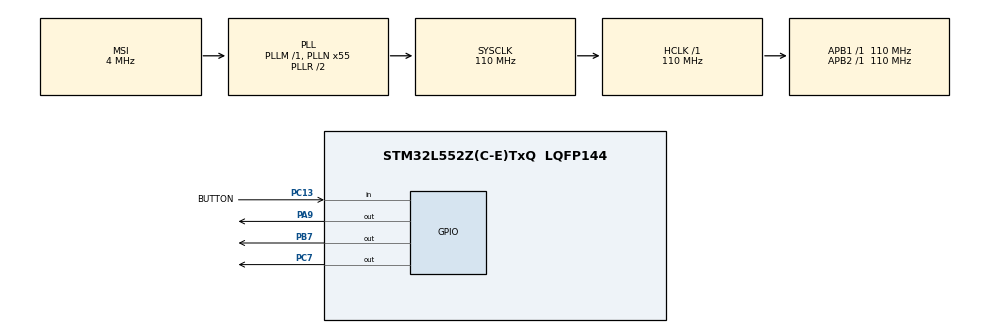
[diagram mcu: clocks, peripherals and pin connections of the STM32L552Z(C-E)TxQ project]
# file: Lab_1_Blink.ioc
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Mcu.Family=STM32L5
Mcu.Name=STM32L552Z(C-E)TxQ
Mcu.Package=LQFP144
Mcu.TrustZone=disable
NUCLEO-L552ZE-Q.BUTTON=1
NUCLEO-L552ZE-Q.LD1=true
NUCLEO-L552ZE-Q.LD2=true
NUCLEO-L552ZE-Q.LD3=true
NUCLEO-L552ZE-Q.VCP=true
NVIC.EXTI13_IRQn=true\:0\:0\:false\:false\:true\:false\:true\:true
NVIC.PriorityGroup=NVIC_PRIORITYGROUP_3
PA13\ (JTMS/SWDIO).Signal=DEBUG_JTMS-SWDIO
PA14\ (JTCK/SWCLK).Signal=DEBUG_JTCK-SWCLK
PA9.Signal=GPIO_Output
PB3\ (JTDO/TRACESWO).Signal=DEBUG_JTDO-SWO
PB7.Signal=GPIO_Output
PC13.GPIO_Label=BUTTON
PC13.GPIO_PuPd=GPIO_PULLDOWN
PC13.Signal=GPIO_Input
PC14-OSC32_IN\ (PC14).Signal=RCC_OSC32_IN
PC15-OSC32_OUT\ (PC15).Signal=RCC_OSC32_OUT
PC7.Signal=GPIO_Output
PG7.Signal=LPUART1_TX
PG8.Signal=LPUART1_RX
ProjectManager.HeapSize=0x200
ProjectManager.StackSize=0x400
ProjectManager.TargetToolchain=STM32CubeIDE
RCC.ADCCLockSelection=RCC_ADCCLKSOURCE_SYSCLK
RCC.ADCFreq_Value=110000000
RCC.AHBFreq_Value=110000000
RCC.APB1Freq_Value=110000000
RCC.APB1TimFreq_Value=110000000
RCC.APB2Freq_Value=110000000
RCC.APB2TimFreq_Value=110000000
RCC.CK48CLockSelection=RCC_USBCLKSOURCE_HSI48
RCC.CortexFreq_Value=110000000
RCC.HCLKFreq_Value=110000000
RCC.HSE_VALUE=8000000
RCC.HSI48_VALUE=48000000
RCC.HSI_VALUE=16000000
RCC.LSE_VALUE=32768
RCC.MSI_VALUE=4000000
RCC.PLLN=55
RCC.PLLSAI1N=24
RCC.RTCClockSelection=RCC_RTCCLKSOURCE_LSE
RCC.SYSCLKFreq_VALUE=110000000
RCC.SYSCLKSource=RCC_SYSCLKSOURCE_PLLCLK
RCC.USBFreq_Value=48000000
RCC.VCOOutputFreq_Value=220000000
VP_ICACHE_VS_ICACHE.Mode=DirectMappedCache
VP_NUCLEO-L552ZE-Q_VS_BSP_COMMON.Mode=COMMON
board=NUCLEO-L552ZE-Q

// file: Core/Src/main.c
/* USER CODE BEGIN Header */
/**
  ******************************************************************************
  * @file           : main.c
  * @brief          : Main program body
  ******************************************************************************
  * @attention
  *
  * Copyright (c) 2025 STMicroelectronics.
  * All rights reserved.
  *
  * This software is licensed under terms that can be found in the LICENSE file
  * in the root directory of this software component.
  * If no LICENSE file comes with this software, it is provided AS-IS.
  *
  ******************************************************************************
  */
/* USER CODE END Header */
#include "main.h"

/* USER CODE BEGIN PM */

// LAB MACRO
#define LAB_TEST 2			// LAB_TEST is the macro that controls what part of the lab is run for easy switching 1 = part1, 2 = part2

/* USER CODE END PM */

COM_InitTypeDef BspCOMInit;

/* USER CODE BEGIN PV */

// Timer Variables
uint32_t blink_current_time = 1;
uint32_t blink_next_time = 0;

/* USER CODE END PV */

void SystemClock_Config(void);
static void MX_GPIO_Init(void);
static void MX_ICACHE_Init(void);
/* USER CODE BEGIN PFP */

// Function Prototypes
uint8_t VerifyButtonPress(GPIO_TypeDef* PORT, uint16_t PIN, uint8_t positive_polls, uint8_t total_polls);

/* USER CODE END PFP */

int main(void)
{

  /* MCU Configuration--------------------------------------------------------*/

  /* Reset of all peripherals, Initializes the Flash interface and the Systick. */
  HAL_Init();

  /* Configure the system clock */
  SystemClock_Config();

  /* Initialize all configured peripherals */
  MX_GPIO_Init();
  MX_ICACHE_Init();
  /* USER CODE BEGIN 2 */
  // User Private Functions

  /* USER CODE END 2 */

  /* Initialize leds */
  BSP_LED_Init(LED_GREEN);
  BSP_LED_Init(LED_BLUE);
  BSP_LED_Init(LED_RED);

  /* Initialize USER push-button, will be used to trigger an interrupt each time it's pressed.*/
  BSP_PB_Init(BUTTON_USER, BUTTON_MODE_EXTI);

  /* Initialize COM1 port (115200, 8 bits (7-bit data + 1 stop bit), no parity */
  BspCOMInit.BaudRate   = 115200;
  BspCOMInit.WordLength = COM_WORDLENGTH_8B;
  BspCOMInit.StopBits   = COM_STOPBITS_1;
  BspCOMInit.Parity     = COM_PARITY_NONE;
  BspCOMInit.HwFlowCtl  = COM_HWCONTROL_NONE;
  if (BSP_COM_Init(COM1, &BspCOMInit) != BSP_ERROR_NONE)
  {
    Error_Handler();
  }

  /* Infinite loop */
  /* USER CODE BEGIN WHILE */
  while (1)
  {
	  // Part 1
	  if (LAB_TEST == 1)
	  {
		  // Start LED Blink
		  blink_current_time = HAL_GetTick();								// Update current time variable
		  if (blink_next_time < blink_current_time)
		  {
			  HAL_GPIO_TogglePin(GPIOC, GPIO_PIN_7);						// Toggle LED
			  blink_next_time = HAL_GetTick() + 1000;						// Set new timer for 1s
		  }
	  }

	  // Part 2
	  if (LAB_TEST == 2)
	  {
		  // Check for button press
		  if (HAL_GPIO_ReadPin(GPIOC, GPIO_PIN_13))
			  if (VerifyButtonPress(GPIOC, GPIO_PIN_13, 8, 10))
					  HAL_GPIO_TogglePin(GPIOC, GPIO_PIN_7);
	  }

    /* USER CODE END WHILE */

  }
}

void SystemClock_Config(void)
{
  RCC_OscInitTypeDef RCC_OscInitStruct = {0};
  RCC_ClkInitTypeDef RCC_ClkInitStruct = {0};

  /** Configure the main internal regulator output voltage
  */
  if (HAL_PWREx_ControlVoltageScaling(PWR_REGULATOR_VOLTAGE_SCALE0) != HAL_OK)
  {
    Error_Handler();
  }

  /** Initializes the RCC Oscillators according to the specified parameters
  * in the RCC_OscInitTypeDef structure.
  */
  RCC_OscInitStruct.OscillatorType = RCC_OSCILLATORTYPE_MSI;
  RCC_OscInitStruct.MSIState = RCC_MSI_ON;
  RCC_OscInitStruct.MSICalibrationValue = RCC_MSICALIBRATION_DEFAULT;
  RCC_OscInitStruct.MSIClockRange = RCC_MSIRANGE_6;
  RCC_OscInitStruct.PLL.PLLState = RCC_PLL_ON;
  RCC_OscInitStruct.PLL.PLLSource = RCC_PLLSOURCE_MSI;
  RCC_OscInitStruct.PLL.PLLM = 1;
  RCC_OscInitStruct.PLL.PLLN = 55;
  RCC_OscInitStruct.PLL.PLLP = RCC_PLLP_DIV7;
  RCC_OscInitStruct.PLL.PLLQ = RCC_PLLQ_DIV2;
  RCC_OscInitStruct.PLL.PLLR = RCC_PLLR_DIV2;
  if (HAL_RCC_OscConfig(&RCC_OscInitStruct) != HAL_OK)
  {
    Error_Handler();
  }

  /** Initializes the CPU, AHB and APB buses clocks
  */
  RCC_ClkInitStruct.ClockType = RCC_CLOCKTYPE_HCLK|RCC_CLOCKTYPE_SYSCLK
                              |RCC_CLOCKTYPE_PCLK1|RCC_CLOCKTYPE_PCLK2;
  RCC_ClkInitStruct.SYSCLKSource = RCC_SYSCLKSOURCE_PLLCLK;
  RCC_ClkInitStruct.AHBCLKDivider = RCC_SYSCLK_DIV1;
  RCC_ClkInitStruct.APB1CLKDivider = RCC_HCLK_DIV1;
  RCC_ClkInitStruct.APB2CLKDivider = RCC_HCLK_DIV1;

  if (HAL_RCC_ClockConfig(&RCC_ClkInitStruct, FLASH_LATENCY_5) != HAL_OK)
  {
    Error_Handler();
  }
}

static void MX_ICACHE_Init(void)
{

  /** Enable instruction cache in 1-way (direct mapped cache)
  */
  if (HAL_ICACHE_ConfigAssociativityMode(ICACHE_1WAY) != HAL_OK)
  {
    Error_Handler();
  }
  if (HAL_ICACHE_Enable() != HAL_OK)
  {
    Error_Handler();
  }

}

static void MX_GPIO_Init(void)
{
  GPIO_InitTypeDef GPIO_InitStruct = {0};

    /* GPIO Ports Clock Enable */
    __HAL_RCC_GPIOC_CLK_ENABLE();
    __HAL_RCC_GPIOA_CLK_ENABLE();
    __HAL_RCC_GPIOB_CLK_ENABLE();   // already enabled

    /*Configure GPIO pin Output Level */
    HAL_GPIO_WritePin(GPIOC, GPIO_PIN_7, GPIO_PIN_RESET);
    HAL_GPIO_WritePin(GPIOB, GPIO_PIN_7, GPIO_PIN_RESET);

    /*Configure GPIO pin : BUTTON_Pin */
    GPIO_InitStruct.Pin = BUTTON_Pin;
    GPIO_InitStruct.Mode = GPIO_MODE_INPUT;
    GPIO_InitStruct.Pull = GPIO_PULLDOWN;
    HAL_GPIO_Init(BUTTON_GPIO_Port, &GPIO_InitStruct);

    /*Configure GPIO pin : PC7 */
    GPIO_InitStruct.Pin = GPIO_PIN_7;
    GPIO_InitStruct.Mode = GPIO_MODE_OUTPUT_PP;
    GPIO_InitStruct.Pull = GPIO_NOPULL;
    GPIO_InitStruct.Speed = GPIO_SPEED_FREQ_LOW;
    HAL_GPIO_Init(GPIOC, &GPIO_InitStruct);

    /*Configure GPIO pin : PB7 (LD2) */
    GPIO_InitStruct.Pin = GPIO_PIN_7;
    GPIO_InitStruct.Mode = GPIO_MODE_OUTPUT_PP;
    GPIO_InitStruct.Pull = GPIO_NOPULL;
    GPIO_InitStruct.Speed = GPIO_SPEED_FREQ_LOW;
    HAL_GPIO_Init(GPIOB, &GPIO_InitStruct);

}

/* USER CODE BEGIN 4 */

/*
   * Function Prototype 					uint8_t VerifyButtonPress(GPIO_TypeDef* PORT, uint16_t PIN, uint8_t positive_polls, uint8_t total_polls);
   *
   * Description:							This function will poll the user defined pin which the button is connected to on the MCU.
   * 											If the input pin is high for at least positive_polls then the function will return a positive value.
   * 											The function will poll the user defined pin total_polls and accumulate the amount logic high reads
   * 											then the function will test this against the number the user entered as the check value.
   *
   * Inputs:								GPIO_TypeDef* PORT : 		GPIO struct representing the port the input is connected to.
   * 										uint16_t PIN : GPIO pin 	GPIO pin the input is connected to.
   * 										uint8_t positive_polls : 	Number of times the input must be logic high during operation to get a
   * 																		positive output.
   * 										uint8_t total_polls : 		Number of times the function will poll input pin during operation.
   *
   * Outputs:								uint8_t : 1 and 0 representing the button is on and the button is off respectively.
   *
   * Side Effects:							Function holds processor with waiting timer until the function has polled the button "times"
   *
   * Example Usage:							// Check for button press
   *										  	if (HAL_GPIO_ReadPin(GPIOB, GPIO_PIN_7))
   *												if (VerifyButtonPress(GPIOB, GPIO_PIN_7, 8, 10))
   *													HAL_GPIO_TogglePin(GPIOB, GPIO_PIN_7);
  */
  uint8_t VerifyButtonPress(GPIO_TypeDef* PORT, uint16_t PIN, uint8_t positive_polls, uint8_t total_polls)
  {
  	// Verify user did not enter more successes than the total polls
  	if (positive_polls > total_polls)
  		return 0;	// Error
  	// Poll user pin
  	uint8_t positive_reads = 0;
  	for (uint8_t i = 0; i < total_polls; i++)
  	{
  		if (HAL_GPIO_ReadPin(PORT, PIN))
  			positive_reads++;
  		HAL_Delay(20);		// 20ms delay | Total Function time = (total_polls * 20ms)
  	}
  	if (positive_reads >= positive_polls)
  		return 1;	// Success
  	else
  		return 0;	// Failure
  }

/* USER CODE END 4 */

void Error_Handler(void)
{
  __disable_irq();
  while (1)
  {
  }
}
